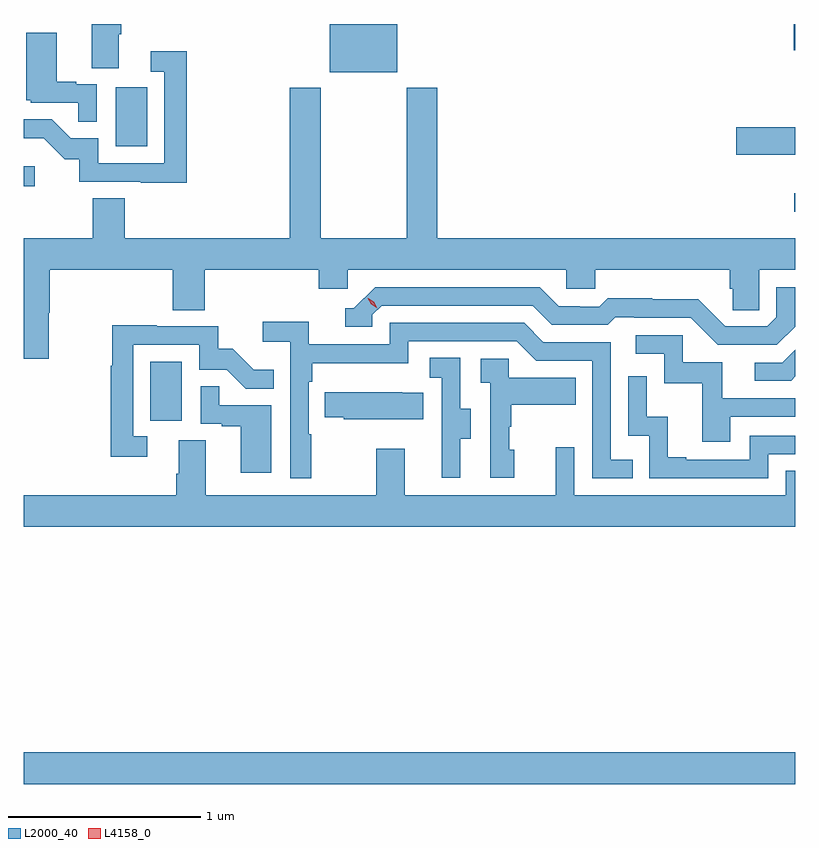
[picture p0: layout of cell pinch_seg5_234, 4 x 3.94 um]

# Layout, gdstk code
import gdstk
lib = gdstk.Library(unit=1e-6, precision=1e-09)
def R(c, l, rs):  # rectangles x0, y0, x1, y1
    for r in rs: c.add(gdstk.rectangle(r[:2], r[2:], *l))
def P(c, l, *ps):  # polygons
    for p in ps: c.add(gdstk.Polygon(p, *l))
L2000_40 = (2000, 40)
L4158_0 = (4158, 0)

pinch_seg5_234 = lib.new_cell('pinch_seg5_234')
R(pinch_seg5_234, L2000_40, [(969.191,911.372,973.191,911.536), (969.848,913.254,970.012,913.561), (973.185,914.336,973.191,914.433), (969.191,914.47,969.25,914.572), (972.885,914.632,973.191,914.774), (969.668,914.676,969.832,914.983), (970.778,915.059,971.128,915.31), (973.181,915.174,973.191,915.31)])
P(pinch_seg5_234, L2000_40, [(969.685,915.256),(969.698,915.256),(969.698,915.31),(969.545,915.31),(969.545,915.082),(969.685,915.082)],
  [(969.57,914.997),(969.464,914.997),(969.464,915.01),(969.364,915.01),(969.364,915.265),(969.206,915.265),(969.206,914.916),(969.228,914.916),(969.228,914.901),(969.475,914.901),(969.475,914.803),(969.57,914.803)],
  [(970.037,915.169),(969.849,915.169),(969.849,915.063),(969.921,915.063),(969.921,914.589),(969.579,914.589),(969.579,914.718),(969.435,914.718),(969.337,914.816),(969.193,914.816),(969.193,914.717),(969.297,914.717),(969.404,914.61),(969.481,914.61),(969.481,914.493),(969.799,914.493),(969.799,914.488),(970.037,914.488)],
  [(969.321,913.814),(969.326,913.814),(969.326,914.036),(969.965,914.036),(969.965,913.828),(970.13,913.828),(970.13,914.036),(970.721,914.036),(970.721,913.938),(970.872,913.938),(970.872,914.036),(972.003,914.036),(972.003,913.938),(972.153,913.938),(972.153,914.036),(972.851,914.036),(972.851,913.938),(972.865,913.938),(972.865,913.828),(973.002,913.828),(973.002,914.036),(973.191,914.036),(973.191,914.2),(971.336,914.2),(971.336,914.98),(971.176,914.98),(971.176,914.2),(970.731,914.2),(970.731,914.98),(970.571,914.98),(970.571,914.2),(969.716,914.2),(969.716,914.408),(969.551,914.408),(969.551,914.2),(969.191,914.2),(969.191,913.575),(969.321,913.575)],
  [(973.189,913.741),(973.189,913.851),(973.191,913.851),(973.191,913.947),(973.092,913.947),(973.092,913.791),(973.044,913.743),(972.828,913.743),(972.686,913.885),(972.45,913.885),(972.45,913.888),(972.217,913.888),(972.175,913.845),(972.072,913.845),(972.072,913.848),(971.965,913.848),(971.866,913.947),(971.013,913.947),(970.902,913.836),(970.859,913.836),(970.859,913.74),(970.998,913.74),(970.998,913.803),(971.046,913.851),(971.829,913.851),(971.928,913.752),(972.217,913.752),(972.256,913.791),(972.355,913.791),(972.355,913.788),(972.648,913.788),(972.789,913.647),(973.095,913.647)],
  [(970.681,913.184),(970.668,913.184),(970.668,913.457),(970.688,913.457),(970.688,913.553),(971.184,913.553),(971.184,913.665),(971.748,913.665),(971.847,913.566),(972.138,913.566),(972.138,912.957),(972.347,912.957),(972.347,913.053),(972.234,913.053),(972.234,913.662),(971.884,913.662),(971.785,913.761),(971.088,913.761),(971.088,913.65),(970.67,913.65),(970.67,913.766),(970.431,913.766),(970.431,913.664),(970.572,913.664),(970.572,912.957),(970.681,912.957)],
  [(969.832,913.173),(969.759,913.173),(969.759,913.647),(970.101,913.647),(970.101,913.518),(970.245,913.518),(970.343,913.42),(970.487,913.42),(970.487,913.519),(970.383,913.519),(970.276,913.626),(970.2,913.626),(970.2,913.743),(969.881,913.743),(969.881,913.748),(969.651,913.748),(969.651,913.54),(969.643,913.54),(969.643,913.068),(969.832,913.068)],
  [(972.853,913.275),(973.191,913.275),(973.191,913.371),(972.811,913.371),(972.811,913.557),(972.606,913.557),(972.606,913.698),(972.363,913.698),(972.363,913.602),(972.51,913.602),(972.51,913.449),(972.709,913.449),(972.709,913.146),(972.853,913.146)],
  [(973.191,913.484),(973.191,913.623),(973.122,913.554),(972.981,913.554),(972.981,913.461),(973.168,913.461)],
  [(971.455,913.162),(971.509,913.162),(971.509,913.317),(971.454,913.317),(971.454,913.58),(971.295,913.58),(971.295,913.477),(971.358,913.477),(971.358,913.173),(971.357,913.173),(971.357,912.96),(971.455,912.96)],
  [(971.734,913.104),(971.709,913.104),(971.709,913.223),(971.719,913.223),(971.719,913.337),(972.053,913.337),(972.053,913.477),(971.706,913.477),(971.706,913.575),(971.559,913.575),(971.559,913.451),(971.61,913.451),(971.61,912.96),(971.734,912.96)],
  [(973.05,913.08),(973.191,913.08),(973.191,913.176),(972.954,913.176),(972.954,913.053),(972.625,913.053),(972.625,913.066),(972.53,913.066),(972.53,913.274),(972.42,913.274),(972.42,913.486),(972.324,913.486),(972.324,913.176),(972.432,913.176),(972.432,912.957),(973.05,912.957)],
  [(970.474,913.335),(970.205,913.335),(970.205,913.433),(970.11,913.433),(970.11,913.239),(970.217,913.239),(970.217,913.227),(970.316,913.227),(970.316,912.984),(970.474,912.984)],
  [(971.261,913.399),(971.153,913.399),(971.153,913.402),(970.753,913.402),(970.753,913.273),(970.851,913.273),(970.851,913.262),(971.261,913.262)],
  [(973.191,912.995),(973.14,912.995),(973.14,912.868),(972.045,912.868),(972.045,913.117),(971.948,913.117),(971.948,912.868),(971.167,912.868),(971.167,913.108),(971.02,913.108),(971.02,912.868),(970.135,912.868),(970.135,913.154),(969.995,913.154),(969.995,912.98),(969.983,912.98),(969.983,912.868),(969.191,912.868),(969.191,912.704),(973.191,912.704)])
P(pinch_seg5_234, L4158_0, [(971.023,913.838),(970.992,913.857),(970.975,913.89),(970.975,913.89),(970.976,913.89),(971.007,913.871),(971.023,913.838),(971.023,913.838)])

lib.write_gds('pinch_seg5_234.gds')
